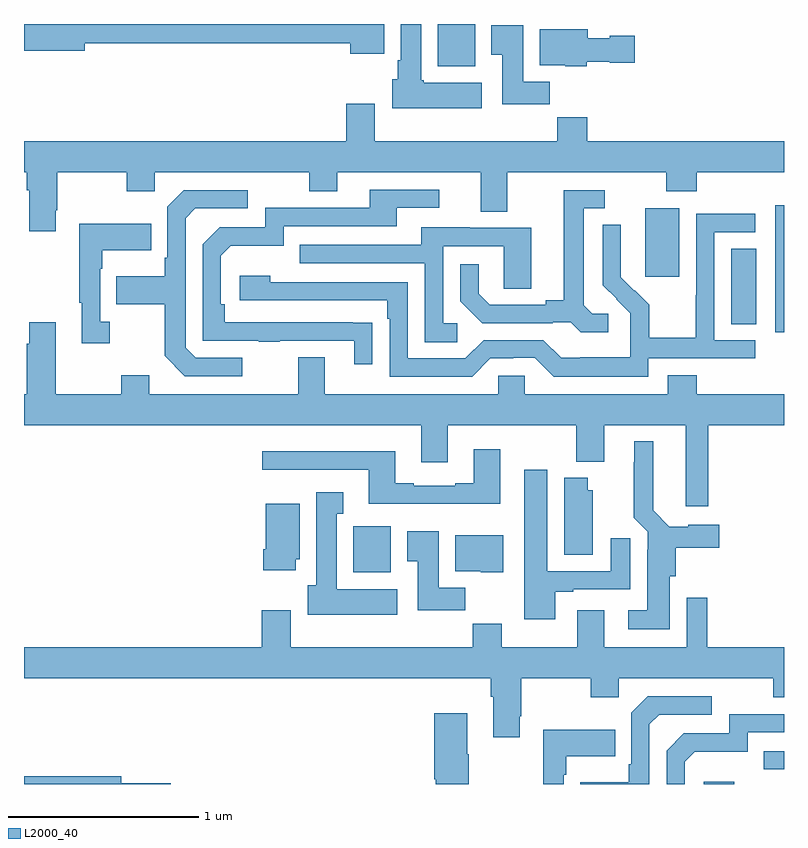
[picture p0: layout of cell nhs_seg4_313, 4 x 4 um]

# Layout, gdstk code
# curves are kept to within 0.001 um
import gdstk
lib = gdstk.Library(unit=1e-6, precision=1e-09)
def R(c, l, rs):  # rectangles x0, y0, x1, y1
    for r in rs: c.add(gdstk.rectangle(r[:2], r[2:], *l))
def P(c, l, *ps):  # polygons
    for p in ps: c.add(gdstk.Polygon(p, *l))
L2000_40 = (2000, 40)

nhs_seg4_313 = lib.new_cell('nhs_seg4_313')
R(nhs_seg4_313, L2000_40, [(128.577,826.9,128.738,826.912), (128.893,826.977,129,827.073), (126.734,828.014,126.931,828.256), (128.954,829.278,129,829.945), (128.723,829.321,128.854,829.718), (128.27,829.569,128.449,829.93), (127.178,830.678,127.375,830.9)])
P(nhs_seg4_313, L2000_40, [(126.895,830.9),(125,830.9),(125,830.758),(125.32,830.758),(125.32,830.8),(126.716,830.8),(126.716,830.744),(126.895,830.744)],
  [(127.408,830.59),(127.104,830.59),(127.104,830.604),(127.09,830.604),(127.09,830.9),(126.983,830.9),(126.983,830.71),(126.968,830.71),(126.968,830.61),(126.938,830.61),(126.938,830.456),(127.408,830.456)],
  [(127.766,830.596),(127.627,830.596),(127.627,830.893),(127.46,830.893),(127.46,830.737),(127.517,830.737),(127.517,830.478),(127.766,830.478)],
  [(127.962,830.702),(128.082,830.702),(128.082,830.695),(128.215,830.695),(128.215,830.837),(128.082,830.837),(128.082,830.824),(127.966,830.824),(127.966,830.872),(127.715,830.872),(127.715,830.684),(127.848,830.684),(127.848,830.678),(127.962,830.678)],
  [(125.167,829.921),(125.175,829.921),(125.175,830.12),(125.542,830.12),(125.542,830.021),(125.688,830.021),(125.688,830.12),(126.502,830.12),(126.502,830.021),(126.649,830.021),(126.649,830.12),(127.403,830.12),(127.403,829.912),(127.543,829.912),(127.543,830.12),(128.38,830.12),(128.38,830.021),(128.54,830.021),(128.54,830.12),(129,830.12),(129,830.284),(127.964,830.284),(127.964,830.408),(127.807,830.408),(127.807,830.284),(126.847,830.284),(126.847,830.479),(126.695,830.479),(126.695,830.284),(125,830.284),(125,830.12),(125.015,830.12),(125.015,830.024),(125.027,830.024),(125.027,829.809),(125.167,829.809)],
  [(126.833,829.328),(126.056,829.329),(126.056,829.426),(126.036,829.426),(126.036,829.68),(126.089,829.733),(126.366,829.733),(126.366,829.836),(126.961,829.836),(126.961,829.932),(127.186,829.932),(127.186,830.028),(126.821,830.028),(126.821,829.932),(126.27,829.932),(126.27,829.83),(126.03,829.83),(125.94,829.74),(125.94,829.233),(126.235,829.233),(126.235,829.228),(126.347,829.228),(126.347,829.233),(126.737,829.233),(126.737,829.11),(126.833,829.11)],
  [(126.148,829.143),(125.904,829.143),(125.85,829.197),(125.85,829.878),(125.901,829.929),(126.178,829.929),(126.178,830.025),(125.841,830.025),(125.754,829.938),(125.754,829.669),(125.742,829.669),(125.742,829.573),(125.485,829.573),(125.485,829.426),(125.742,829.426),(125.742,829.153),(125.847,829.047),(126.148,829.047)],
  [(128.074,829.374),(127.992,829.374),(127.945,829.421),(127.945,829.929),(128.056,829.929),(128.056,830.025),(127.841,830.025),(127.841,829.445),(127.745,829.445),(127.745,829.422),(127.45,829.422),(127.393,829.479),(127.393,829.636),(127.296,829.636),(127.296,829.442),(127.412,829.326),(127.784,829.326),(127.784,829.329),(127.878,829.329),(127.93,829.277),(128.074,829.277)],
  [(128.286,829.14),(128.848,829.14),(128.848,829.236),(128.634,829.236),(128.634,829.803),(128.848,829.803),(128.848,829.902),(128.538,829.902),(128.538,829.472),(128.536,829.472),(128.536,829.249),(128.291,829.249),(128.291,829.423),(128.214,829.5),(128.211,829.497),(128.141,829.568),(128.142,829.844),(128.046,829.844),(128.046,829.526),(128.192,829.378),(128.192,829.281),(128.19,829.281),(128.19,829.147),(127.927,829.147),(127.927,829.143),(127.827,829.143),(127.734,829.236),(127.419,829.236),(127.323,829.14),(127.02,829.14),(127.02,829.542),(126.296,829.542),(126.296,829.576),(126.135,829.576),(126.135,829.446),(126.911,829.446),(126.911,829.349),(126.924,829.349),(126.924,829.044),(127.359,829.044),(127.455,829.14),(127.574,829.14),(127.574,829.143),(127.689,829.143),(127.789,829.043),(128.286,829.043)],
  [(125.452,829.334),(125.4,829.334),(125.4,829.613),(125.413,829.613),(125.413,829.709),(125.669,829.709),(125.669,829.849),(125.292,829.849),(125.292,829.433),(125.303,829.433),(125.303,829.221),(125.452,829.221)],
  [(127.279,829.326),(127.206,829.326),(127.206,829.731),(127.524,829.731),(127.524,829.507),(127.669,829.507),(127.669,829.827),(127.345,829.827),(127.345,829.831),(127.091,829.831),(127.091,829.737),(126.451,829.737),(126.451,829.641),(127.11,829.641),(127.11,829.225),(127.279,829.225)],
  [(128.601,828.788),(129,828.788),(129,828.952),(128.54,828.952),(128.54,829.051),(128.387,829.051),(128.387,828.952),(127.635,828.952),(127.635,829.05),(127.497,829.05),(127.497,828.952),(126.583,828.952),(126.583,829.147),(126.443,829.147),(126.443,828.952),(125.659,828.952),(125.659,829.051),(125.512,829.051),(125.512,828.952),(125.167,828.952),(125.167,829.33),(125.027,829.33),(125.027,829.217),(125.015,829.217),(125.015,828.952),(125,828.952),(125,828.788),(127.091,828.788),(127.091,828.594),(127.231,828.594),(127.231,828.788),(127.906,828.788),(127.906,828.596),(128.053,828.596),(128.053,828.788),(128.483,828.788),(128.483,828.363),(128.601,828.363)],
  [(128.398,827.994),(128.429,827.994),(128.429,828.143),(128.659,828.143),(128.659,828.265),(128.496,828.265),(128.496,828.253),(128.397,828.253),(128.311,828.34),(128.311,828.703),(128.213,828.703),(128.213,828.593),(128.209,828.593),(128.209,828.302),(128.283,828.228),(128.283,828.134),(128.279,828.134),(128.279,827.815),(128.181,827.815),(128.181,827.714),(128.398,827.714)],
  [(127.507,828.661),(127.367,828.661),(127.367,828.484),(127.271,828.484),(127.271,828.471),(127.051,828.471),(127.051,828.484),(126.955,828.484),(126.955,828.652),(126.255,828.652),(126.255,828.555),(126.815,828.555),(126.815,828.374),(127.507,828.374)],
  [(127.795,827.913),(127.891,827.913),(127.891,827.925),(128.191,827.925),(128.191,828.193),(128.087,828.193),(128.087,828.021),(127.753,828.021),(127.753,828.553),(127.634,828.553),(127.634,827.766),(127.795,827.766)],
  [(127.993,828.447),(127.966,828.447),(127.966,828.511),(127.844,828.511),(127.844,828.106),(127.993,828.106)],
  [(126.964,827.926),(126.646,827.926),(126.646,828.323),(126.679,828.323),(126.679,828.436),(126.539,828.436),(126.539,827.946),(126.494,827.946),(126.494,827.792),(126.964,827.792)],
  [(126.43,828.084),(126.451,828.084),(126.451,828.376),(126.272,828.376),(126.272,828.136),(126.26,828.136),(126.26,828.024),(126.43,828.024)],
  [(127.322,827.932),(127.183,827.932),(127.183,828.229),(127.016,828.229),(127.016,828.073),(127.073,828.073),(127.073,827.814),(127.322,827.814)],
  [(127.522,828.208),(127.271,828.208),(127.271,828.02),(127.404,828.02),(127.404,828.014),(127.522,828.014)],
  [(127.609,827.257),(127.617,827.257),(127.617,827.456),(127.984,827.456),(127.984,827.357),(128.13,827.357),(128.13,827.456),(128.944,827.456),(128.944,827.357),(129,827.357),(129,827.62),(128.596,827.62),(128.596,827.881),(128.487,827.881),(128.487,827.62),(128.053,827.62),(128.053,827.815),(127.913,827.815),(127.913,827.62),(127.515,827.62),(127.515,827.744),(127.363,827.744),(127.363,827.62),(126.403,827.62),(126.403,827.815),(126.251,827.815),(126.251,827.62),(125,827.62),(125,827.456),(127.457,827.456),(127.457,827.36),(127.469,827.36),(127.469,827.145),(127.609,827.145)],
  [(128.292,827.214),(128.343,827.265),(128.62,827.265),(128.62,827.361),(128.283,827.361),(128.196,827.274),(128.196,827.005),(128.184,827.005),(128.184,826.909),(127.927,826.909),(127.927,826.9),(128.292,826.9)],
  [(127.341,827.057),(127.333,827.057),(127.333,827.272),(127.16,827.272),(127.16,826.926),(127.166,826.926),(127.166,826.9),(127.341,826.9)],
  [(128.478,827.016),(128.531,827.069),(128.808,827.069),(128.808,827.172),(129,827.172),(129,827.268),(128.712,827.268),(128.712,827.166),(128.472,827.166),(128.382,827.076),(128.382,826.9),(128.478,826.9)],
  [(127.842,826.949),(127.855,826.949),(127.855,827.045),(128.111,827.045),(128.111,827.185),(127.734,827.185),(127.734,826.9),(127.842,826.9)],
  [(125.773,826.904),(125.512,826.904),(125.512,826.94),(125,826.94),(125,826.9),(125.773,826.9)])

lib.write_gds('nhs_seg4_313.gds')
